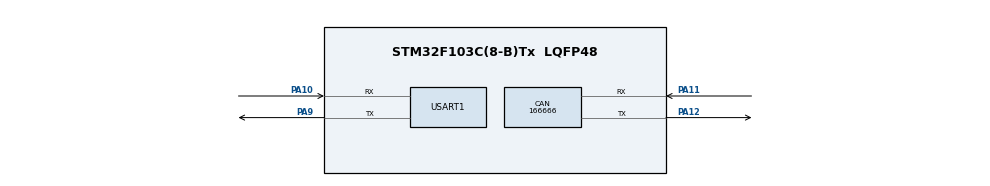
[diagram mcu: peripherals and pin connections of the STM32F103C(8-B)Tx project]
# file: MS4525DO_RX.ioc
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CAN.CalculateBaudRate=166666
CAN.CalculateTimeBit=6000
CAN.CalculateTimeQuantum=2000.0
Mcu.Family=STM32F1
Mcu.Name=STM32F103C(8-B)Tx
Mcu.Package=LQFP48
NVIC.PriorityGroup=NVIC_PRIORITYGROUP_4
PA10.Mode=Asynchronous
PA10.Signal=USART1_RX
PA11.Mode=CAN_Activate
PA11.Signal=CAN_RX
PA12.Mode=CAN_Activate
PA12.Signal=CAN_TX
PA9.Mode=Asynchronous
PA9.Signal=USART1_TX
ProjectManager.HeapSize=0x200
ProjectManager.StackSize=0x400
ProjectManager.TargetToolchain=STM32CubeIDE
RCC.APB1Freq_Value=8000000
RCC.APB2Freq_Value=8000000
USART1.VirtualMode=VM_ASYNC
VP_SYS_VS_ND.Mode=No_Debug
board=custom

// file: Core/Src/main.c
/* USER CODE BEGIN Header */
/**
  ******************************************************************************
  * @file           : main.c
  * @brief          : Main program body
  ******************************************************************************
  * @attention
  *
  * Copyright (c) 2025 STMicroelectronics.
  * All rights reserved.
  *
  * This software is licensed under terms that can be found in the LICENSE file
  * in the root directory of this software component.
  * If no LICENSE file comes with this software, it is provided AS-IS.
  *
  ******************************************************************************
  */
/* USER CODE END Header */
#include "main.h"

CAN_HandleTypeDef hcan;

UART_HandleTypeDef huart1;

/* USER CODE BEGIN PV */
CAN_RxHeaderTypeDef rxHeader; //CANbus receive header
uint8_t canRX[8] = {0,0,0,0,0,0,0,0};  //CAN Bus Receive Buffer
CAN_FilterTypeDef canfil; //CANBus filter

/* USER CODE END PV */

void SystemClock_Config(void);
static void MX_GPIO_Init(void);
static void MX_CAN_Init(void);
static void MX_USART1_UART_Init(void);

int main(void)
{

  /* MCU Configuration--------------------------------------------------------*/

  /* Reset of all peripherals, Initializes the Flash interface and the Systick. */
  HAL_Init();

  /* Configure the system clock */
  SystemClock_Config();

  /* Initialize all configured peripherals */
  MX_GPIO_Init();
  MX_CAN_Init();
  MX_USART1_UART_Init();
  /* USER CODE BEGIN 2 */
  canfil.FilterBank = 0;
  canfil.FilterMode = CAN_FILTERMODE_IDMASK;
  canfil.FilterFIFOAssignment = CAN_RX_FIFO0;
  canfil.FilterIdHigh = 0;
  canfil.FilterIdLow = 0;
  canfil.FilterMaskIdHigh = 0;
  canfil.FilterMaskIdLow = 0;
  canfil.FilterScale = CAN_FILTERSCALE_32BIT;
  canfil.FilterActivation = ENABLE;
  canfil.SlaveStartFilterBank = 14;

  HAL_CAN_ConfigFilter(&hcan,&canfil);
  HAL_CAN_Start(&hcan);
  HAL_CAN_ActivateNotification(&hcan,CAN_IT_RX_FIFO0_MSG_PENDING);
  /* USER CODE END 2 */

  /* Infinite loop */
  while (1)
  {

  }
}

void SystemClock_Config(void)
{
  RCC_OscInitTypeDef RCC_OscInitStruct = {0};
  RCC_ClkInitTypeDef RCC_ClkInitStruct = {0};

  /** Initializes the RCC Oscillators according to the specified parameters
  * in the RCC_OscInitTypeDef structure.
  */
  RCC_OscInitStruct.OscillatorType = RCC_OSCILLATORTYPE_HSI;
  RCC_OscInitStruct.HSIState = RCC_HSI_ON;
  RCC_OscInitStruct.HSICalibrationValue = RCC_HSICALIBRATION_DEFAULT;
  RCC_OscInitStruct.PLL.PLLState = RCC_PLL_NONE;
  if (HAL_RCC_OscConfig(&RCC_OscInitStruct) != HAL_OK)
  {
    Error_Handler();
  }

  /** Initializes the CPU, AHB and APB buses clocks
  */
  RCC_ClkInitStruct.ClockType = RCC_CLOCKTYPE_HCLK|RCC_CLOCKTYPE_SYSCLK
                              |RCC_CLOCKTYPE_PCLK1|RCC_CLOCKTYPE_PCLK2;
  RCC_ClkInitStruct.SYSCLKSource = RCC_SYSCLKSOURCE_HSI;
  RCC_ClkInitStruct.AHBCLKDivider = RCC_SYSCLK_DIV1;
  RCC_ClkInitStruct.APB1CLKDivider = RCC_HCLK_DIV1;
  RCC_ClkInitStruct.APB2CLKDivider = RCC_HCLK_DIV1;

  if (HAL_RCC_ClockConfig(&RCC_ClkInitStruct, FLASH_LATENCY_0) != HAL_OK)
  {
    Error_Handler();
  }
}

static void MX_CAN_Init(void)
{

  hcan.Instance = CAN1;
  hcan.Init.Prescaler = 16;
  hcan.Init.Mode = CAN_MODE_NORMAL;
  hcan.Init.SyncJumpWidth = CAN_SJW_1TQ;
  hcan.Init.TimeSeg1 = CAN_BS1_1TQ;
  hcan.Init.TimeSeg2 = CAN_BS2_1TQ;
  hcan.Init.TimeTriggeredMode = DISABLE;
  hcan.Init.AutoBusOff = DISABLE;
  hcan.Init.AutoWakeUp = DISABLE;
  hcan.Init.AutoRetransmission = DISABLE;
  hcan.Init.ReceiveFifoLocked = DISABLE;
  hcan.Init.TransmitFifoPriority = DISABLE;
  if (HAL_CAN_Init(&hcan) != HAL_OK)
  {
    Error_Handler();
  }

}

static void MX_USART1_UART_Init(void)
{

  huart1.Instance = USART1;
  huart1.Init.BaudRate = 115200;
  huart1.Init.WordLength = UART_WORDLENGTH_8B;
  huart1.Init.StopBits = UART_STOPBITS_1;
  huart1.Init.Parity = UART_PARITY_NONE;
  huart1.Init.Mode = UART_MODE_TX_RX;
  huart1.Init.HwFlowCtl = UART_HWCONTROL_NONE;
  huart1.Init.OverSampling = UART_OVERSAMPLING_16;
  if (HAL_UART_Init(&huart1) != HAL_OK)
  {
    Error_Handler();
  }

}

static void MX_GPIO_Init(void)
{

  /* GPIO Ports Clock Enable */
  __HAL_RCC_GPIOA_CLK_ENABLE();

}

void Error_Handler(void)
{
  __disable_irq();
  while (1)
  {
  }
}
